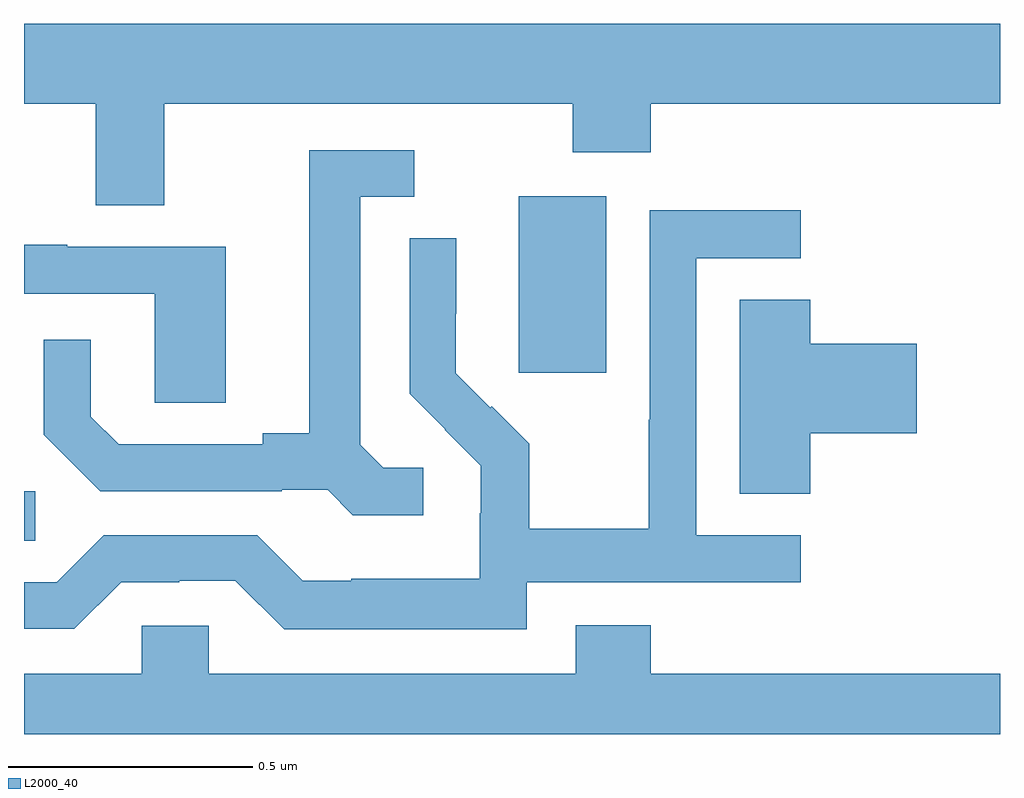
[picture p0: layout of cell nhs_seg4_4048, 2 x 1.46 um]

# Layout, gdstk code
import gdstk
lib = gdstk.Library(unit=1e-6, precision=1e-09)
def R(c, l, rs):  # rectangles x0, y0, x1, y1
    for r in rs: c.add(gdstk.rectangle(r[:2], r[2:], *l))
def P(c, l, *ps):  # polygons
    for p in ps: c.add(gdstk.Polygon(p, *l))
L2000_40 = (2000, 40)

nhs_seg4_4048 = lib.new_cell('nhs_seg4_4048')
R(nhs_seg4_4048, L2000_40, [(161,757.297,161.023,757.398), (162.014,757.641,162.193,758.002)])
P(nhs_seg4_4048, L2000_40, [(161.287,758.192),(162.124,758.192),(162.124,758.093),(162.284,758.093),(162.284,758.192),(163,758.192),(163,758.356),(161,758.356),(161,758.192),(161.147,758.192),(161.147,757.984),(161.287,757.984)],
  [(161.818,757.446),(161.736,757.446),(161.689,757.493),(161.689,758.001),(161.8,758.001),(161.8,758.097),(161.585,758.097),(161.585,757.517),(161.489,757.517),(161.489,757.494),(161.194,757.494),(161.137,757.551),(161.137,757.708),(161.04,757.708),(161.04,757.514),(161.156,757.398),(161.528,757.398),(161.528,757.401),(161.622,757.401),(161.674,757.349),(161.818,757.349)],
  [(162.03,757.212),(162.592,757.212),(162.592,757.308),(162.378,757.308),(162.378,757.875),(162.592,757.875),(162.592,757.974),(162.282,757.974),(162.282,757.544),(162.28,757.544),(162.28,757.321),(162.035,757.321),(162.035,757.495),(161.958,757.572),(161.955,757.569),(161.885,757.64),(161.885,757.762),(161.886,757.762),(161.886,757.916),(161.79,757.916),(161.79,757.598),(161.863,757.525),(161.862,757.524),(161.936,757.45),(161.936,757.353),(161.934,757.353),(161.934,757.219),(161.671,757.219),(161.671,757.215),(161.571,757.215),(161.478,757.308),(161.163,757.308),(161.067,757.212),(161,757.212),(161,757.116),(161.103,757.116),(161.199,757.212),(161.318,757.212),(161.318,757.215),(161.433,757.215),(161.533,757.115),(162.03,757.115)],
  [(161.413,757.899),(161.089,757.899),(161.089,757.903),(161,757.903),(161,757.803),(161.268,757.803),(161.268,757.579),(161.413,757.579)],
  [(162.611,757.517),(162.829,757.517),(162.829,757.7),(162.611,757.7),(162.611,757.79),(162.467,757.79),(162.467,757.393),(162.611,757.393)],
  [(163,757.024),(162.284,757.024),(162.284,757.123),(162.131,757.123),(162.131,757.024),(161.379,757.024),(161.379,757.122),(161.241,757.122),(161.241,757.024),(161,757.024),(161,756.9),(163,756.9)])

lib.write_gds('nhs_seg4_4048.gds')
